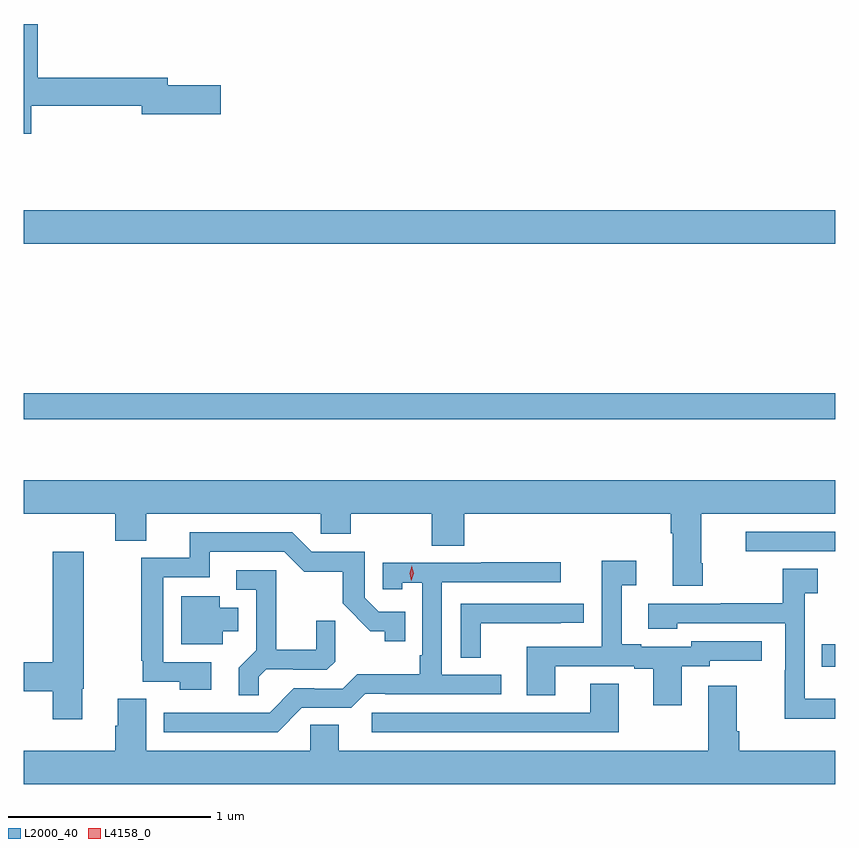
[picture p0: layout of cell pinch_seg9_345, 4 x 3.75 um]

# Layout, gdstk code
import gdstk
lib = gdstk.Library(unit=1e-6, precision=1e-09)
def R(c, l, rs):  # rectangles x0, y0, x1, y1
    for r in rs: c.add(gdstk.rectangle(r[:2], r[2:], *l))
def P(c, l, *ps):  # polygons
    for p in ps: c.add(gdstk.Polygon(p, *l))
L2000_40 = (2000, 40)
L4158_0 = (4158, 0)

pinch_seg9_345 = lib.new_cell('pinch_seg9_345')
R(pinch_seg9_345, L2000_40, [(556.309,1199.663,556.375,1199.773), (555.933,1200.231,556.375,1200.327), (552.375,1200.882,556.375,1201.01), (552.375,1201.748,556.375,1201.912)])
P(pinch_seg9_345, L2000_40, [(552.413,1202.428),(552.956,1202.428),(552.956,1202.386),(553.345,1202.386),(553.345,1202.528),(553.084,1202.528),(553.084,1202.564),(552.443,1202.564),(552.443,1202.83),(552.375,1202.83),(552.375,1202.289),(552.413,1202.289)],
  [(555.723,1200.172),(555.715,1200.172),(555.715,1200.416),(556.375,1200.416),(556.375,1200.58),(552.375,1200.58),(552.375,1200.416),(552.827,1200.416),(552.827,1200.283),(552.979,1200.283),(552.979,1200.416),(553.839,1200.416),(553.839,1200.318),(553.986,1200.318),(553.986,1200.416),(554.386,1200.416),(554.386,1200.259),(554.546,1200.259),(554.546,1200.416),(555.563,1200.416),(555.563,1200.32),(555.575,1200.32),(555.575,1200.06),(555.723,1200.06)],
  [(553.3,1199.685),(553.062,1199.685),(553.062,1200.102),(553.291,1200.102),(553.291,1200.228),(553.659,1200.228),(553.758,1200.13),(553.947,1200.13),(553.947,1199.974),(554.084,1199.837),(554.154,1199.837),(554.154,1199.787),(554.255,1199.787),(554.255,1199.934),(554.124,1199.934),(554.055,1200.003),(554.055,1200.228),(553.794,1200.228),(553.698,1200.324),(553.193,1200.324),(553.193,1200.198),(552.954,1200.198),(552.954,1199.692),(552.961,1199.692),(552.961,1199.589),(553.144,1199.589),(553.144,1199.549),(553.3,1199.549)],
  [(552.664,1199.553),(552.672,1199.553),(552.672,1200.229),(552.518,1200.229),(552.518,1199.684),(552.375,1199.684),(552.375,1199.542),(552.518,1199.542),(552.518,1199.403),(552.664,1199.403)],
  [(555.619,1199.664),(555.756,1199.664),(555.756,1199.691),(556.012,1199.691),(556.012,1199.787),(555.666,1199.787),(555.666,1199.76),(555.418,1199.76),(555.418,1199.773),(555.322,1199.773),(555.322,1200.064),(555.394,1200.064),(555.394,1200.184),(555.225,1200.184),(555.225,1199.76),(554.855,1199.76),(554.855,1199.521),(554.995,1199.521),(554.995,1199.664),(555.383,1199.664),(555.383,1199.652),(555.479,1199.652),(555.479,1199.472),(555.619,1199.472)],
  [(553.746,1199.46),(553.989,1199.46),(554.058,1199.529),(554.158,1199.529),(554.158,1199.526),(554.728,1199.526),(554.728,1199.622),(554.436,1199.622),(554.436,1200.078),(555.022,1200.078),(555.022,1200.177),(554.629,1200.177),(554.629,1200.174),(554.145,1200.174),(554.145,1200.045),(554.241,1200.045),(554.241,1200.077),(554.34,1200.077),(554.34,1199.719),(554.328,1199.719),(554.328,1199.626),(554.02,1199.626),(553.947,1199.553),(553.808,1199.553),(553.808,1199.556),(553.707,1199.556),(553.587,1199.436),(553.064,1199.436),(553.064,1199.34),(553.626,1199.34)],
  [(556.375,1199.503),(556.224,1199.503),(556.224,1200.025),(556.288,1200.025),(556.288,1200.146),(556.116,1200.146),(556.116,1199.976),(555.811,1199.976),(555.811,1199.973),(555.453,1199.973),(555.453,1199.849),(555.597,1199.849),(555.597,1199.877),(556.128,1199.877),(556.128,1199.645),(556.126,1199.645),(556.126,1199.405),(556.375,1199.405)],
  [(553.533,1199.612),(553.57,1199.649),(553.704,1199.649),(553.704,1199.646),(553.869,1199.646),(553.91,1199.687),(553.91,1199.889),(553.816,1199.889),(553.816,1199.746),(553.619,1199.746),(553.619,1200.138),(553.422,1200.138),(553.422,1200.042),(553.521,1200.042),(553.521,1199.743),(553.435,1199.657),(553.435,1199.521),(553.533,1199.521)],
  [(553.357,1199.837),(553.432,1199.837),(553.432,1199.953),(553.342,1199.953),(553.342,1200.01),(553.151,1200.01),(553.151,1199.774),(553.357,1199.774)],
  [(554.628,1199.877),(555.023,1199.877),(555.023,1199.878),(555.136,1199.878),(555.136,1199.973),(554.529,1199.973),(554.529,1199.707),(554.628,1199.707)],
  [(555.307,1199.579),(555.167,1199.579),(555.167,1199.436),(554.091,1199.436),(554.091,1199.34),(555.307,1199.34)],
  [(556.375,1199.248),(555.902,1199.248),(555.902,1199.344),(555.889,1199.344),(555.889,1199.569),(555.749,1199.569),(555.749,1199.248),(553.927,1199.248),(553.927,1199.375),(553.788,1199.375),(553.788,1199.248),(552.979,1199.248),(552.979,1199.504),(552.839,1199.504),(552.839,1199.37),(552.827,1199.37),(552.827,1199.248),(552.375,1199.248),(552.375,1199.084),(556.375,1199.084)])
P(pinch_seg9_345, L4158_0, [(554.285,1200.087),(554.277,1200.123),(554.288,1200.158),(554.288,1200.159),(554.288,1200.158),(554.297,1200.122),(554.286,1200.087),(554.286,1200.087)])

lib.write_gds('pinch_seg9_345.gds')
